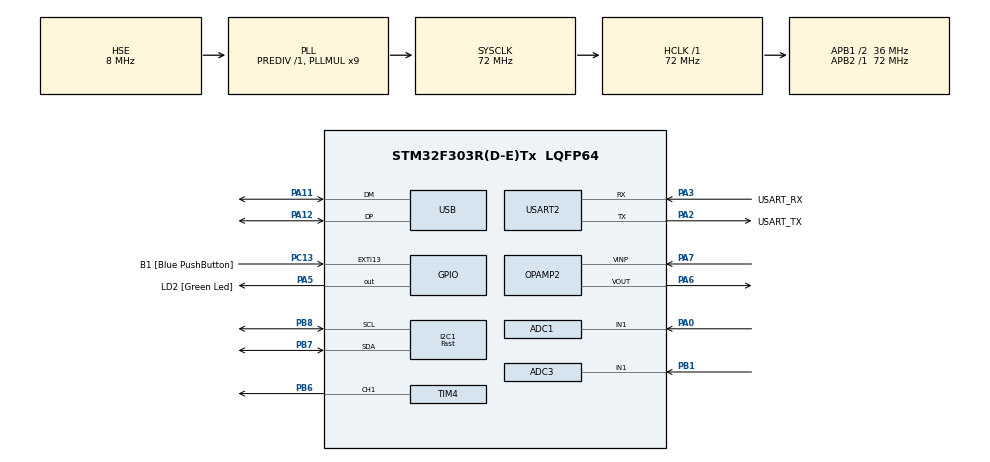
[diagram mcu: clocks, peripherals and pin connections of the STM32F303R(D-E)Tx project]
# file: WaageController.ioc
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ADC1.Channel-3\#ChannelRegularConversion=ADC_CHANNEL_1
ADC1.ContinuousConvMode=ENABLE
ADC1.NbrOfConversionFlag=1
ADC1.Offset-3\#ChannelRegularConversion=0
ADC1.OffsetNumber-3\#ChannelRegularConversion=ADC_OFFSET_NONE
ADC1.Rank-3\#ChannelRegularConversion=1
ADC1.SamplingTime-3\#ChannelRegularConversion=ADC_SAMPLETIME_1CYCLE_5
ADC1.SamplingTimeOPAMP-3\#ChannelRegularConversion=ADC_SAMPLETIME_61CYCLES_5
ADC1.master=1
ADC3.Channel-1\#ChannelRegularConversion=ADC_CHANNEL_1
ADC3.ContinuousConvMode=ENABLE
ADC3.NbrOfConversionFlag=1
ADC3.Offset-1\#ChannelRegularConversion=0
ADC3.OffsetNumber-1\#ChannelRegularConversion=ADC_OFFSET_NONE
ADC3.Rank-1\#ChannelRegularConversion=1
ADC3.SamplingTime-1\#ChannelRegularConversion=ADC_SAMPLETIME_1CYCLE_5
ADC3.SamplingTimeOPAMP-1\#ChannelRegularConversion=ADC_SAMPLETIME_61CYCLES_5
ADC3.master=1
I2C1.I2C_Fall_Time=120
I2C1.I2C_Rise_Time=300
I2C1.I2C_Speed_Mode=I2C_Fast
I2C1.Timing=0x00300208
Mcu.Family=STM32F3
Mcu.Name=STM32F303R(D-E)Tx
Mcu.Package=LQFP64
NVIC.ADC1_2_IRQn=true\:0\:0\:false\:false\:true\:true\:true\:true
NVIC.ADC3_IRQn=true\:0\:0\:false\:false\:true\:true\:true\:true
NVIC.I2C1_EV_IRQn=true\:0\:0\:false\:false\:true\:true\:true\:true
NVIC.PriorityGroup=NVIC_PRIORITYGROUP_0
NVIC.TIM2_IRQn=true\:0\:0\:false\:false\:true\:true\:true\:true
NVIC.USB_LP_CAN_RX0_IRQn=true\:0\:0\:false\:false\:true\:false\:true\:true
OPAMP2.PgaGain=OPAMP_PGA_GAIN_16
PA0.Mode=IN1-Single-Ended
PA0.Signal=ADC1_IN1
PA11.Mode=Device
PA11.Signal=USB_DM
PA12.Mode=Device
PA12.Signal=USB_DP
PA13.GPIO_Label=TMS
PA13.Mode=Serial_Wire
PA13.Signal=SYS_JTMS-SWDIO
PA14.GPIO_Label=TCK
PA14.Mode=Serial_Wire
PA14.Signal=SYS_JTCK-SWCLK
PA2.GPIO_Label=USART_TX
PA2.GPIO_Mode=GPIO_MODE_AF_PP
PA2.GPIO_PuPd=GPIO_NOPULL
PA2.GPIO_Speed=GPIO_SPEED_FREQ_LOW
PA2.Mode=Asynchronous
PA2.Signal=USART2_TX
PA3.GPIO_Label=USART_RX
PA3.GPIO_Mode=GPIO_MODE_AF_PP
PA3.GPIO_PuPd=GPIO_NOPULL
PA3.GPIO_Speed=GPIO_SPEED_FREQ_LOW
PA3.Mode=Asynchronous
PA3.Signal=USART2_RX
PA5.GPIO_Label=LD2 [Green Led]
PA5.GPIO_Mode=GPIO_MODE_OUTPUT_PP
PA5.GPIO_PuPd=GPIO_NOPULL
PA5.GPIO_Speed=GPIO_SPEED_FREQ_LOW
PA5.Signal=GPIO_Output
PA6.Mode=PGA Not Connected
PA6.Signal=OPAMP2_VOUT
PA7.Mode=PGA Not Connected
PA7.Signal=OPAMP2_VINP
PB1.Mode=IN1-Single-Ended
PB1.Signal=ADC3_IN1
PB6.Signal=S_TIM4_CH1
PB7.Mode=I2C
PB7.Signal=I2C1_SDA
PB8.Mode=I2C
PB8.Signal=I2C1_SCL
PC13.GPIO_Label=B1 [Blue PushButton]
PC13.GPIO_ModeDefaultEXTI=GPIO_MODE_IT_FALLING
PC13.Signal=GPXTI13
PF0-OSC_IN.Mode=HSE-External-Clock-Source
PF0-OSC_IN.Signal=RCC_OSC_IN
ProjectManager.HeapSize=0x200
ProjectManager.StackSize=0x400
ProjectManager.TargetToolchain=STM32CubeIDE
RCC.AHBFreq_Value=72000000
RCC.APB1CLKDivider=RCC_HCLK_DIV2
RCC.APB1Freq_Value=36000000
RCC.APB1TimFreq_Value=72000000
RCC.APB2Freq_Value=72000000
RCC.APB2TimFreq_Value=72000000
RCC.CortexFreq_Value=72000000
RCC.HCLKFreq_Value=72000000
RCC.HSE_VALUE=8000000
RCC.HSI_VALUE=8000000
RCC.LSE_VALUE=32768
RCC.PLLM=8
RCC.PLLMUL=RCC_PLL_MUL9
RCC.PLLN=336
RCC.PLLP=RCC_PLLP_DIV4
RCC.PLLQ=7
RCC.PRESCALERUSB=RCC_USBCLKSOURCE_PLL_DIV1_5
RCC.RCC_PLLsource_Clock_Source_FROM_HSE=RCC_HSE_PREDIV_DIV2
RCC.SYSCLKFreq_VALUE=72000000
RCC.SYSCLKSourceVirtual=RCC_SYSCLKSOURCE_PLLCLK
RCC.USBFreq_Value=48000000
SH.S_TIM4_CH1.0=TIM4_CH1,PWM Generation1 CH1
TIM2.AutoReloadPreload=TIM_AUTORELOAD_PRELOAD_DISABLE
TIM2.Period=50000-1
TIM2.Prescaler=60-1
TIM4.Channel-PWM\ Generation1\ CH1=TIM_CHANNEL_1
TIM4.Period=140-1
TIM4.Prescaler=60-1
USART2.VirtualMode-Asynchronous=VM_ASYNC
USB_DEVICE.CLASS_NAME_FS=DFU
USB_DEVICE.VirtualMode=Dfu
USB_DEVICE.VirtualModeFS=Dfu_FS
VP_TIM2_VS_ClockSourceINT.Mode=Internal
VP_USB_DEVICE_VS_USB_DEVICE_DFU_FS.Mode=DFU_FS
board=NUCLEO-F303RE

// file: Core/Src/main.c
/* USER CODE BEGIN Header */
/**
  ******************************************************************************
  * @file           : main.c
  * @brief          : Main program body
  ******************************************************************************
  * @attention
  *
  * Copyright (c) 2023 STMicroelectronics.
  * All rights reserved.
  *
  * This software is licensed under terms that can be found in the LICENSE file
  * in the root directory of this software component.
  * If no LICENSE file comes with this software, it is provided AS-IS.
  *
  ******************************************************************************
  */
/* USER CODE END Header */
#include "main.h"
#include "adc.h"
#include "i2c.h"
#include "opamp.h"
#include "tim.h"
#include "usart.h"
#include "usb_device.h"
#include "gpio.h"

/* USER CODE BEGIN Includes */
#include "PID_ControllerStream.h"

/* USER CODE END Includes */

/* USER CODE BEGIN PTD */

	PID_Controller* pid;
	 volatile uint32_t counter ;
	 uint32_t adcSt;
	 HAL_TIM_StateTypeDef timSt, pwmSt;
	 HAL_OPAMP_StateTypeDef opmState;
	 HAL_StatusTypeDef opmCalibState;
	 HAL_StatusTypeDef opmStartState;
	 uint8_t an;

/* USER CODE END PTD */

/* USER CODE BEGIN PM */
void HAL_ADC_ConvCpltCallback(ADC_HandleTypeDef* hadc){

	 	if(hadc ->Instance == ADC1){
	 	    uint32_t _ADC  = HAL_ADC_GetValue(hadc);
	 		pidIn(pid, ADC_Map(_ADC));
	 	}
	 	else if(hadc ->Instance == ADC3){
	 		 uint32_t _ADC = HAL_ADC_GetValue(hadc);
	 		 weightPrint(_ADC);
	 	}

	 }

void HAL_TIM_PeriodElapsedCallback(TIM_HandleTypeDef *htim){

	if (htim->Instance == TIM2){
	    HAL_GPIO_TogglePin(LD2_GPIO_Port, LD2_Pin);
	    counter = __HAL_TIM_GET_COUNTER(&htim2);
	    pid_Compute(pid);
	    TIM4 ->CCR1 = (pidOut(pid));
	    mallocFree(pid);

	}
}
/* USER CODE END PM */

void SystemClock_Config(void);

int main(void)
{
  /* USER CODE BEGIN 1 */

  pid = pid_init();
  PID_Set(pid, 10, 3,1.2,1200,1);

  /* USER CODE END 1 */

  /* MCU Configuration--------------------------------------------------------*/

  /* Reset of all peripherals, Initializes the Flash interface and the Systick. */
  HAL_Init();

  /* Configure the system clock */
  SystemClock_Config();

  /* Initialize all configured peripherals */
  MX_GPIO_Init();
  MX_USART2_UART_Init();
  MX_TIM2_Init();
  MX_TIM4_Init();
  MX_I2C1_Init();
  MX_OPAMP2_Init();
  MX_ADC1_Init();
  MX_ADC3_Init();
  MX_USB_DEVICE_Init();
  /* USER CODE BEGIN 2 */
//  ssd1306_Init();
  SSD1306_Init();
  HAL_Delay(2000);
//  while (HAL_OPAMP_SelfCalibrate(&hopamp2) == HAL_OK);
  HAL_OPAMP_Start(&hopamp2);
  HAL_TIM_Base_Start_IT(&htim2);
  HAL_ADC_Start_IT(&hadc1);
  HAL_ADC_Start_IT(&hadc3);
  HAL_TIM_PWM_Start(&htim4, TIM_CHANNEL_1);
  weightPrint(0);

  /* USER CODE END 2 */

  /* Infinite loop */
  while (1)
  {

    /* USER CODE BEGIN 3 */
	  adcSt = HAL_ADC_GetState(&hadc1);
	  timSt = HAL_TIM_Base_GetState(&htim2);
	  pwmSt = HAL_TIM_PWM_GetState(&htim4);
	  opmState = HAL_OPAMP_GetState(&hopamp2);
	  HAL_UART_Transmit(&huart2, (uint8_t *)counter, sizeof(counter), HAL_MAX_DELAY);
	  HAL_Delay(50);
  }
  /* USER CODE END 3 */
}

void SystemClock_Config(void)
{
  RCC_OscInitTypeDef RCC_OscInitStruct = {0};
  RCC_ClkInitTypeDef RCC_ClkInitStruct = {0};
  RCC_PeriphCLKInitTypeDef PeriphClkInit = {0};

  /** Initializes the RCC Oscillators according to the specified parameters
  * in the RCC_OscInitTypeDef structure.
  */
  RCC_OscInitStruct.OscillatorType = RCC_OSCILLATORTYPE_HSI|RCC_OSCILLATORTYPE_HSE;
  RCC_OscInitStruct.HSEState = RCC_HSE_BYPASS;
  RCC_OscInitStruct.HSIState = RCC_HSI_ON;
  RCC_OscInitStruct.HSICalibrationValue = RCC_HSICALIBRATION_DEFAULT;
  RCC_OscInitStruct.PLL.PLLState = RCC_PLL_ON;
  RCC_OscInitStruct.PLL.PLLSource = RCC_PLLSOURCE_HSE;
  RCC_OscInitStruct.PLL.PLLMUL = RCC_PLL_MUL9;
  RCC_OscInitStruct.PLL.PREDIV = RCC_PREDIV_DIV1;
  if (HAL_RCC_OscConfig(&RCC_OscInitStruct) != HAL_OK)
  {
    Error_Handler();
  }

  /** Initializes the CPU, AHB and APB buses clocks
  */
  RCC_ClkInitStruct.ClockType = RCC_CLOCKTYPE_HCLK|RCC_CLOCKTYPE_SYSCLK
                              |RCC_CLOCKTYPE_PCLK1|RCC_CLOCKTYPE_PCLK2;
  RCC_ClkInitStruct.SYSCLKSource = RCC_SYSCLKSOURCE_PLLCLK;
  RCC_ClkInitStruct.AHBCLKDivider = RCC_SYSCLK_DIV1;
  RCC_ClkInitStruct.APB1CLKDivider = RCC_HCLK_DIV2;
  RCC_ClkInitStruct.APB2CLKDivider = RCC_HCLK_DIV1;

  if (HAL_RCC_ClockConfig(&RCC_ClkInitStruct, FLASH_LATENCY_2) != HAL_OK)
  {
    Error_Handler();
  }
  PeriphClkInit.PeriphClockSelection = RCC_PERIPHCLK_USB|RCC_PERIPHCLK_USART2
                              |RCC_PERIPHCLK_I2C1|RCC_PERIPHCLK_ADC12
                              |RCC_PERIPHCLK_ADC34|RCC_PERIPHCLK_TIM2
                              |RCC_PERIPHCLK_TIM34;
  PeriphClkInit.Usart2ClockSelection = RCC_USART2CLKSOURCE_PCLK1;
  PeriphClkInit.Adc12ClockSelection = RCC_ADC12PLLCLK_DIV1;
  PeriphClkInit.Adc34ClockSelection = RCC_ADC34PLLCLK_DIV1;
  PeriphClkInit.I2c1ClockSelection = RCC_I2C1CLKSOURCE_HSI;
  PeriphClkInit.USBClockSelection = RCC_USBCLKSOURCE_PLL_DIV1_5;
  PeriphClkInit.Tim2ClockSelection = RCC_TIM2CLK_HCLK;
  PeriphClkInit.Tim34ClockSelection = RCC_TIM34CLK_HCLK;
  if (HAL_RCCEx_PeriphCLKConfig(&PeriphClkInit) != HAL_OK)
  {
    Error_Handler();
  }
}

void Error_Handler(void)
{
  __disable_irq();
  while (1)
  {
  }
}
